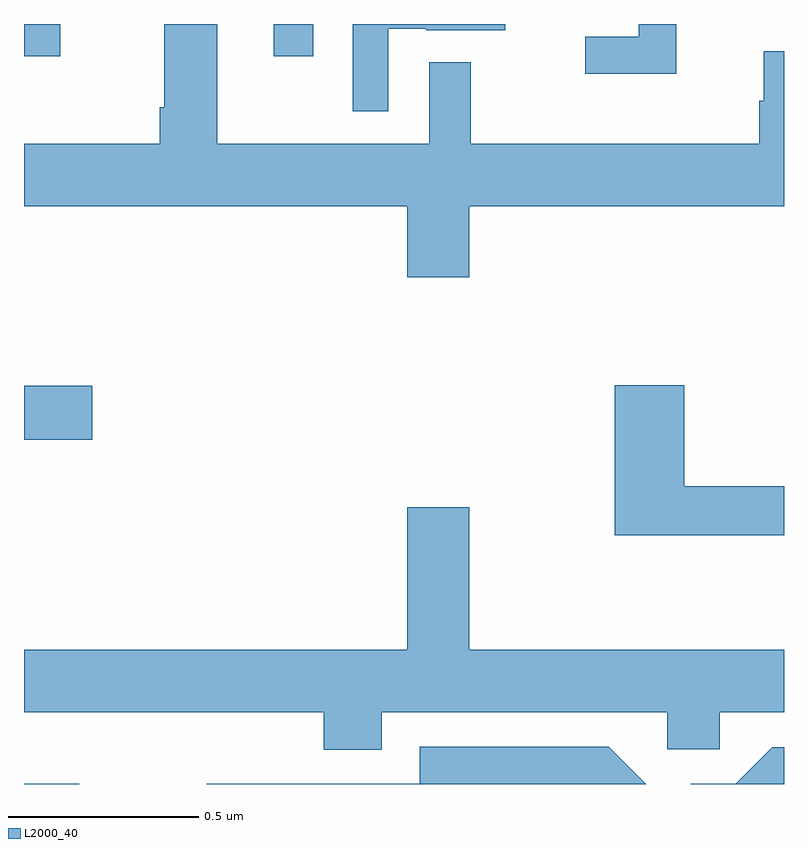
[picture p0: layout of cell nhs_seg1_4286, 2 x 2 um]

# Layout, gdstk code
import gdstk
lib = gdstk.Library(unit=1e-6, precision=1e-09)
def R(c, l, rs):  # rectangles x0, y0, x1, y1
    for r in rs: c.add(gdstk.rectangle(r[:2], r[2:], *l))
def P(c, l, *ps):  # polygons
    for p in ps: c.add(gdstk.Polygon(p, *l))
L2000_40 = (2000, 40)

nhs_seg1_4286 = lib.new_cell('nhs_seg1_4286')
R(nhs_seg1_4286, L2000_40, [(164,562.199,164.146,562.2), (164,563.105,164.179,563.247), (164,564.114,164.095,564.199), (164.657,564.114,164.761,564.199)])
P(nhs_seg1_4286, L2000_40, [(165.172,563.72),(166,563.72),(166,564.127),(165.947,564.127),(165.947,563.997),(165.935,563.997),(165.935,563.884),(165.175,563.884),(165.175,564.098),(165.066,564.098),(165.066,563.884),(164.509,563.884),(164.509,564.199),(164.369,564.199),(164.369,563.98),(164.357,563.98),(164.357,563.884),(164,563.884),(164,563.72),(165.008,563.72),(165.008,563.532),(165.172,563.532)],
  [(165.717,564.199),(165.618,564.199),(165.618,564.166),(165.477,564.166),(165.477,564.068),(165.717,564.068)],
  [(164.958,564.186),(165.058,564.186),(165.058,564.183),(165.266,564.183),(165.266,564.199),(164.865,564.199),(164.865,563.969),(164.958,563.969)],
  [(166,562.982),(165.737,562.982),(165.737,563.248),(165.554,563.248),(165.554,562.854),(166,562.854)],
  [(164.941,562.388),(165.693,562.388),(165.693,562.29),(165.831,562.29),(165.831,562.388),(166,562.388),(166,562.552),(165.172,562.552),(165.172,562.927),(165.008,562.927),(165.008,562.552),(164,562.552),(164,562.388),(164.789,562.388),(164.789,562.289),(164.941,562.289)],
  [(165.539,562.297),(165.042,562.297),(165.042,562.2),(164.481,562.2),(164.481,562.199),(165.637,562.199)],
  [(166,562.296),(165.969,562.296),(165.873,562.2),(165.755,562.2),(165.755,562.199),(166,562.199)])

lib.write_gds('nhs_seg1_4286.gds')
